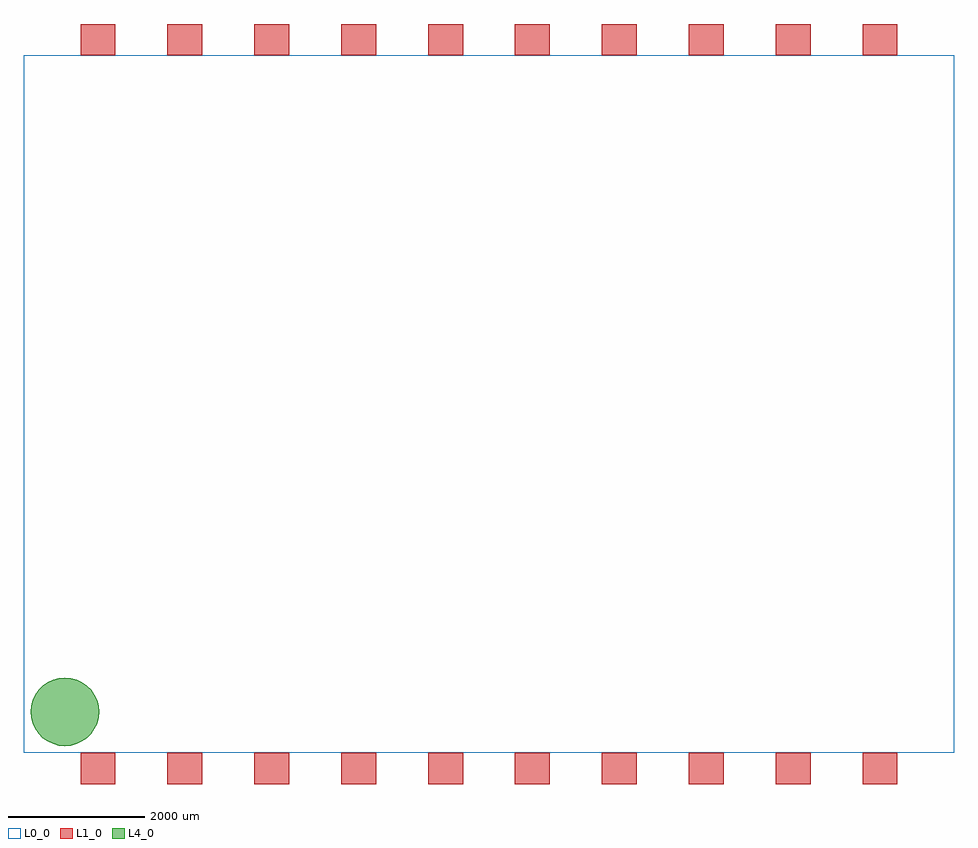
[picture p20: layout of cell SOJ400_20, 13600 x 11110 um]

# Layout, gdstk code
import gdstk
lib = gdstk.Library(unit=1e-6, precision=1e-09)
def R(c, l, rs):  # rectangles x0, y0, x1, y1
    for r in rs: c.add(gdstk.rectangle(r[:2], r[2:], *l))
def A(c, l, x, y, w, h, nx, ny, dx, dy):  # array of equal rectangles
    R(c, l, [(x+i*dx, y+j*dy, x+i*dx+w, y+j*dy+h) for i in range(nx) for j in range(ny)])
def P(c, l, *ps):  # polygons
    for p in ps: c.add(gdstk.Polygon(p, *l))
L0_0 = (0, 0)
L1_0 = (1, 0)
L4_0 = (4, 0)
L99_1 = (99, 1)
L99_2 = (99, 2)
L99_3 = (99, 3)
L99_4 = (99, 4)
L99_5 = (99, 5)
L99_6 = (99, 6)
L99_7 = (99, 7)
L99_8 = (99, 8)
L99_9 = (99, 9)
L99_10 = (99, 10)
L99_11 = (99, 11)
L99_12 = (99, 12)
L99_13 = (99, 13)
L99_14 = (99, 14)
L99_15 = (99, 15)
L99_16 = (99, 16)
L99_17 = (99, 17)
L99_18 = (99, 18)
L99_19 = (99, 19)
L99_20 = (99, 20)

soj400_20 = lib.new_cell('SOJ400_20')
R(soj400_20, L0_0, [(0,0,13600,10200)])
A(soj400_20, L1_0, 830, -455, 510, 455, 10, 2, 1270, 10655)
P(soj400_20, L4_0, [(1100,600),(1092.404,513.176),(1069.846,428.99),(1033.013,350),(983.022,278.606),(921.394,216.978),(850,166.987),(771.01,130.154),(686.824,107.596),(600,100),(513.176,107.596),(428.99,130.154),(350,166.987),(278.606,216.978),(216.978,278.606),(166.987,350),(130.154,428.99),(107.596,513.176),(100,600),(107.596,686.824),(130.154,771.01),(166.987,850),(216.978,921.394),(278.606,983.022),(350,1033.013),(428.99,1069.846),(513.176,1092.404),(600,1100),(686.824,1092.404),(771.01,1069.846),(850,1033.013),(921.394,983.022),(983.022,921.394),(1033.013,850),(1069.846,771.01),(1092.404,686.824)])
soj400_20.add(gdstk.FlexPath([(1340,0),(830,0)], 0, ends="round", simple_path=True, layer=99, datatype=1))  # L99_1
soj400_20.add(gdstk.FlexPath([(2610,0),(2100,0)], 0, ends="round", simple_path=True, layer=99, datatype=2))  # L99_2
soj400_20.add(gdstk.FlexPath([(3880,0),(3370,0)], 0, ends="round", simple_path=True, layer=99, datatype=3))  # L99_3
soj400_20.add(gdstk.FlexPath([(5150,0),(4640,0)], 0, ends="round", simple_path=True, layer=99, datatype=4))  # L99_4
soj400_20.add(gdstk.FlexPath([(6420,0),(5910,0)], 0, ends="round", simple_path=True, layer=99, datatype=5))  # L99_5
soj400_20.add(gdstk.FlexPath([(7690,0),(7180,0)], 0, ends="round", simple_path=True, layer=99, datatype=6))  # L99_6
soj400_20.add(gdstk.FlexPath([(8960,0),(8450,0)], 0, ends="round", simple_path=True, layer=99, datatype=7))  # L99_7
soj400_20.add(gdstk.FlexPath([(10230,0),(9720,0)], 0, ends="round", simple_path=True, layer=99, datatype=8))  # L99_8
soj400_20.add(gdstk.FlexPath([(11500,0),(10990,0)], 0, ends="round", simple_path=True, layer=99, datatype=9))  # L99_9
soj400_20.add(gdstk.FlexPath([(12770,0),(12260,0)], 0, ends="round", simple_path=True, layer=99, datatype=10))  # L99_10
soj400_20.add(gdstk.FlexPath([(830,10200),(1340,10200)], 0, ends="round", simple_path=True, layer=99, datatype=20))  # L99_20
soj400_20.add(gdstk.FlexPath([(2100,10200),(2610,10200)], 0, ends="round", simple_path=True, layer=99, datatype=19))  # L99_19
soj400_20.add(gdstk.FlexPath([(3370,10200),(3880,10200)], 0, ends="round", simple_path=True, layer=99, datatype=18))  # L99_18
soj400_20.add(gdstk.FlexPath([(4640,10200),(5150,10200)], 0, ends="round", simple_path=True, layer=99, datatype=17))  # L99_17
soj400_20.add(gdstk.FlexPath([(5910,10200),(6420,10200)], 0, ends="round", simple_path=True, layer=99, datatype=16))  # L99_16
soj400_20.add(gdstk.FlexPath([(7180,10200),(7690,10200)], 0, ends="round", simple_path=True, layer=99, datatype=15))  # L99_15
soj400_20.add(gdstk.FlexPath([(8450,10200),(8960,10200)], 0, ends="round", simple_path=True, layer=99, datatype=14))  # L99_14
soj400_20.add(gdstk.FlexPath([(9720,10200),(10230,10200)], 0, ends="round", simple_path=True, layer=99, datatype=13))  # L99_13
soj400_20.add(gdstk.FlexPath([(10990,10200),(11500,10200)], 0, ends="round", simple_path=True, layer=99, datatype=12))  # L99_12
soj400_20.add(gdstk.FlexPath([(12260,10200),(12770,10200)], 0, ends="round", simple_path=True, layer=99, datatype=11))  # L99_11

lib.write_gds('SOJ400_20.gds')
